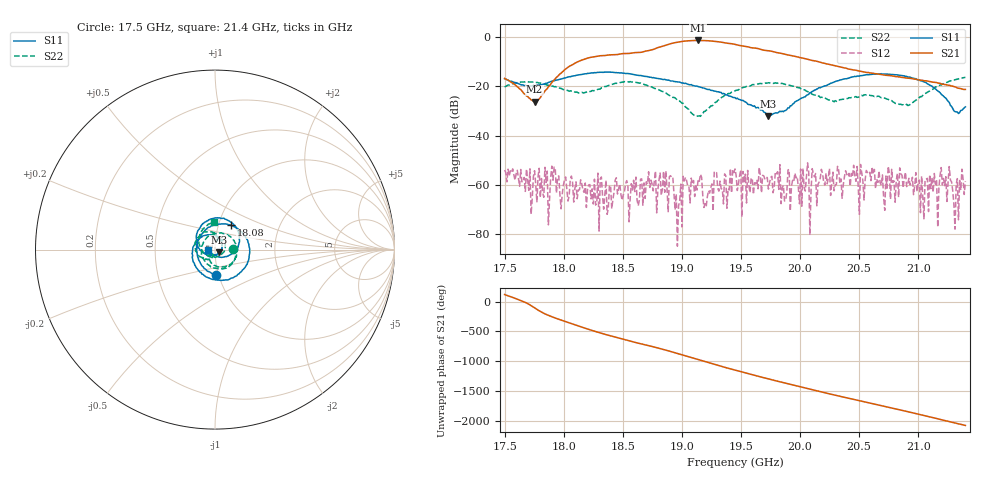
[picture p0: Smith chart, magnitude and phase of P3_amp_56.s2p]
!Created with skrf (http://scikit-rf.org).
# GHz S RI R 50.0
!freq ReS11 ImS11 ReS21 ImS21 ReS12 ImS12 ReS22 ImS22
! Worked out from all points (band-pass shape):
!   401 points, 17.5 GHz to 21.4 GHz, reference 50 ohm
!   highest |S21| = -1.32 dB at 19.14 GHz (marker M1); lowest = -26.2 dB at 17.75 GHz (marker M2)
!   |S21| within 3 dB of the highest: 18.79 GHz to 19.6 GHz (807.1 MHz wide, 4.2 % of centre)
!   lowest |S11| = -32.0 dB at 19.73 GHz (marker M3), VSWR 1.05, Z = 52.1 - j1.53 ohm
!   |S11| at or under -10 dB: start of sweep to end of sweep
!   |S22| runs from -32.1 to -16.3 dB; largest |S21 - S12| = 0.86
!   S11 on the Smith chart (normalised r, x): 17.5 GHz: 0.98, -0.29; 18.08 GHz: 1.15, +0.32; 21.4 GHz: 0.93, -0.00
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17.5  0.00809 -0.1433  -0.065 0.1307  -0.00134 0.0015  0.098 0.00126
17.7535  -0.1003 0.0254  -0.0127 -0.0474  0.000504 0.00188  0.0717 -0.0998
18.07525  0.0896 0.1357  0.2642 -0.0816  -0.000151 -0.00111  -0.0729 -0.0314
18.15325  0.1408 0.1039  0.1225 -0.3204  0.0004 -0.000965  -0.0737 0.0194
18.3385  0.1898 -0.038  -0.4234 0.0217  -0.000271 0.000176  0.0287 0.0924
18.514  0.0986 -0.1576  0.0652 0.4627  0.000112 -0.00072  0.1253 0.00174
18.8065  -0.1059 -0.0979  0.2892 -0.5547  -0.000771 -0.000967  -0.00735 -0.085
19.0015  -0.1149 0.0263  -0.8143 -0.1025  -0.00014 1.19e-05  -0.0326 -0.0325
19.138  -0.0622 0.0776  -0.2488 0.8219  0.000662 0.00111  -0.0144 -0.0204
19.1965  -0.0378 0.0827  0.2493 0.8137  0.000297 0.000293  -0.0102 -0.0296
19.294  0.000435 0.0787  0.7805 0.2444  0.000486 0.00171  -0.0192 -0.0446
19.45  0.0346 0.0486  0.2565 -0.6675  0.00207 -0.000436  -0.0648 -0.0495
19.606  0.0384 0.00983  -0.5232 -0.3044  0.000564 -0.000311  -0.1092 -0.00372
19.73275  0.0204 -0.0147  -0.4399 0.299  0.000104 -0.000819  -0.1043 0.0572
19.94725  -0.0328 -0.0313  0.3264 0.2575  -0.000295 -0.00113  -0.0224 0.0986
20.10325  -0.0789 -0.00589  0.2705 -0.2007  -0.000751 -0.00201  0.0147 0.068
20.37625  -0.0947 0.1064  -0.2278 -0.0685  -0.00146 0.000149  0.0117 0.0536
20.7565  0.0849 0.1544  0.147 0.0801  0.00101 0.00139  0.0523 -0.00543
21.0295  0.1298 0.015  -0.0171 -0.1325  0.00151 -6.78e-05  -0.0579 -0.0221
21.27325  0.0166 -0.0378  -0.0864 0.0584  -0.000772 -0.000997  -0.0706 0.1087
21.322  -0.0092 -0.029  -0.0532 0.0802  -0.000749 -0.000703  -0.0513 0.1298
21.4  -0.0385 -0.00114  0.00579 0.0869  -0.00106 -0.000521  -0.00775 0.1528
